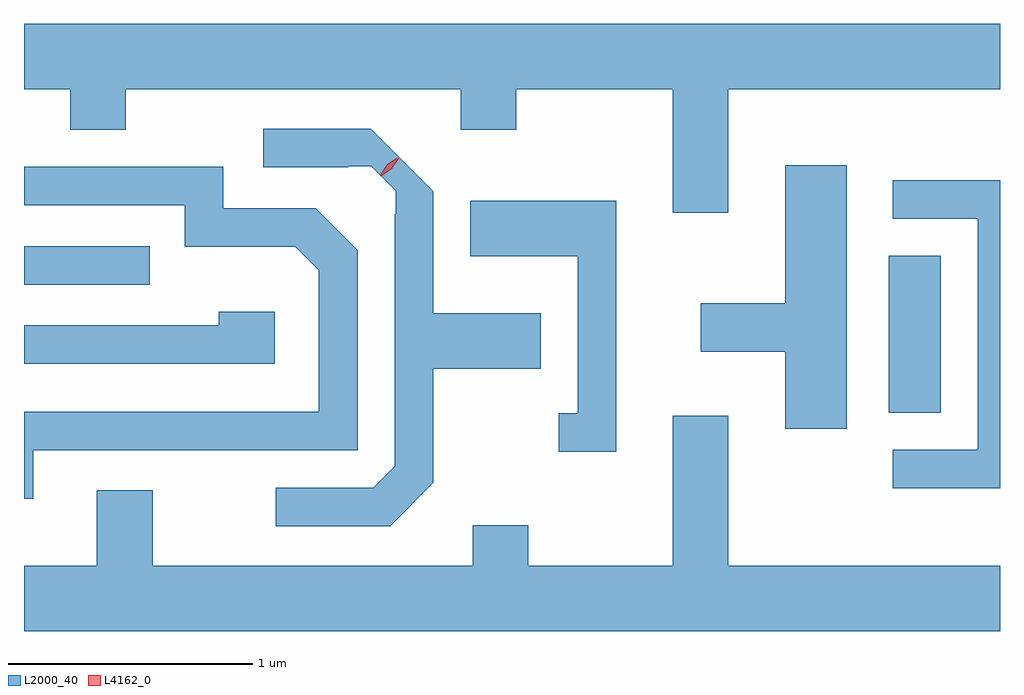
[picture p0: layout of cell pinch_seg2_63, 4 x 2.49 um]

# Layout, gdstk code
import gdstk
lib = gdstk.Library(unit=1e-6, precision=1e-09)
def R(c, l, rs):  # rectangles x0, y0, x1, y1
    for r in rs: c.add(gdstk.rectangle(r[:2], r[2:], *l))
def P(c, l, *ps):  # polygons
    for p in ps: c.add(gdstk.Polygon(p, *l))
L2000_40 = (2000, 40)
L4162_0 = (4162, 0)

pinch_seg2_63 = lib.new_cell('pinch_seg2_63')
R(pinch_seg2_63, L2000_40, [(1131.786,987.051,1131.999,987.694), (1128.242,987.576,1128.758,987.734)])
P(pinch_seg2_63, L2000_40, [(1131.129,988.376),(1132.242,988.376),(1132.242,988.644),(1128.242,988.644),(1128.242,988.376),(1128.431,988.376),(1128.431,988.211),(1128.659,988.211),(1128.659,988.376),(1130.031,988.376),(1130.031,988.211),(1130.259,988.211),(1130.259,988.376),(1130.901,988.376),(1130.901,987.871),(1131.129,987.871)],
  [(1129.919,986.764),(1129.919,987.231),(1130.359,987.231),(1130.359,987.459),(1129.919,987.459),(1129.919,987.959),(1129.664,988.214),(1129.223,988.214),(1129.223,988.056),(1129.57,988.056),(1129.57,988.06),(1129.665,988.06),(1129.765,987.96),(1129.765,987.865),(1129.761,987.865),(1129.761,986.832),(1129.674,986.744),(1129.273,986.744),(1129.273,986.586),(1129.742,986.586)],
  [(1131.614,988.064),(1131.361,988.064),(1131.361,987.499),(1131.016,987.499),(1131.016,987.301),(1131.361,987.301),(1131.361,986.986),(1131.614,986.986)],
  [(1128.279,986.896),(1129.609,986.896),(1129.609,987.717),(1129.437,987.889),(1129.059,987.889),(1129.059,988.059),(1128.242,988.059),(1128.242,987.901),(1128.901,987.901),(1128.901,987.731),(1129.354,987.731),(1129.451,987.634),(1129.451,987.054),(1128.242,987.054),(1128.242,986.698),(1128.279,986.698)],
  [(1132.242,988.004),(1131.803,988.004),(1131.803,987.846),(1132.151,987.846),(1132.151,986.899),(1131.803,986.899),(1131.803,986.741),(1132.242,986.741)],
  [(1130.669,987.919),(1130.071,987.919),(1130.071,987.691),(1130.511,987.691),(1130.511,987.049),(1130.433,987.049),(1130.433,986.891),(1130.669,986.891)],
  [(1129.269,987.464),(1129.041,987.464),(1129.041,987.409),(1128.242,987.409),(1128.242,987.251),(1129.269,987.251)],
  [(1132.242,986.424),(1131.129,986.424),(1131.129,987.039),(1130.901,987.039),(1130.901,986.424),(1130.309,986.424),(1130.309,986.589),(1130.081,986.589),(1130.081,986.424),(1128.769,986.424),(1128.769,986.734),(1128.541,986.734),(1128.541,986.424),(1128.242,986.424),(1128.242,986.156),(1132.242,986.156)])
P(pinch_seg2_63, L4162_0, [(1129.704,988.027),(1129.704,988.028),(1129.731,988.069),(1129.771,988.096),(1129.772,988.096),(1129.772,988.095),(1129.745,988.055),(1129.705,988.027)],
  [(1129.705,988.02),(1129.705,988.02),(1129.735,988.065),(1129.779,988.095),(1129.78,988.095),(1129.78,988.095),(1129.749,988.05),(1129.706,988.02)])

lib.write_gds('pinch_seg2_63.gds')
